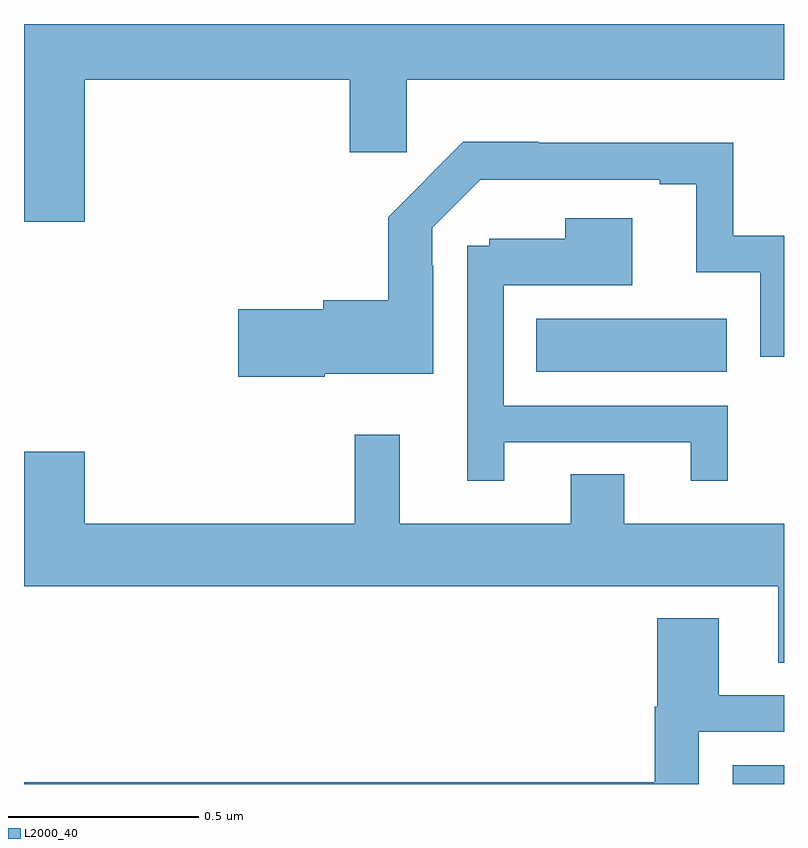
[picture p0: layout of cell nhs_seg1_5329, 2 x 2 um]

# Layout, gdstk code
import gdstk
lib = gdstk.Library(unit=1e-6, precision=1e-09)
def R(c, l, rs):  # rectangles x0, y0, x1, y1
    for r in rs: c.add(gdstk.rectangle(r[:2], r[2:], *l))
def P(c, l, *ps):  # polygons
    for p in ps: c.add(gdstk.Polygon(p, *l))
L2000_40 = (2000, 40)

nhs_seg1_5329 = lib.new_cell('nhs_seg1_5329')
R(nhs_seg1_5329, L2000_40, [(178.865,563.199,179,563.248), (178.348,564.284,178.849,564.424)])
P(nhs_seg1_5329, L2000_40, [(177.16,565.052),(177.857,565.052),(177.857,564.861),(178.007,564.861),(178.007,565.052),(179,565.052),(179,565.199),(177,565.199),(177,564.678),(177.16,564.678)],
  [(177.792,564.278),(178.077,564.278),(178.077,564.563),(178.074,564.563),(178.074,564.663),(178.2,564.789),(178.673,564.789),(178.673,564.777),(178.769,564.777),(178.769,564.546),(178.938,564.546),(178.938,564.324),(179,564.324),(179,564.642),(178.867,564.642),(178.867,564.886),(178.355,564.886),(178.355,564.889),(178.156,564.889),(177.959,564.691),(177.959,564.472),(177.788,564.472),(177.788,564.449),(177.564,564.449),(177.564,564.271),(177.792,564.271)],
  [(178.264,564.099),(178.754,564.099),(178.754,563.997),(178.852,563.997),(178.852,564.195),(178.263,564.195),(178.263,564.512),(178.6,564.512),(178.6,564.688),(178.424,564.688),(178.424,564.634),(178.224,564.634),(178.224,564.615),(178.167,564.615),(178.167,563.997),(178.264,563.997)],
  [(179,563.884),(178.579,563.884),(178.579,564.014),(178.439,564.014),(178.439,563.884),(177.989,563.884),(177.989,564.118),(177.871,564.118),(177.871,563.884),(177.16,563.884),(177.16,564.073),(177,564.073),(177,563.72),(178.985,563.72),(178.985,563.518),(179,563.518)],
  [(178.776,563.337),(179,563.337),(179,563.433),(178.828,563.433),(178.828,563.635),(178.667,563.635),(178.667,563.402),(178.66,563.402),(178.66,563.204),(177,563.204),(177,563.199),(178.776,563.199)])

lib.write_gds('nhs_seg1_5329.gds')
